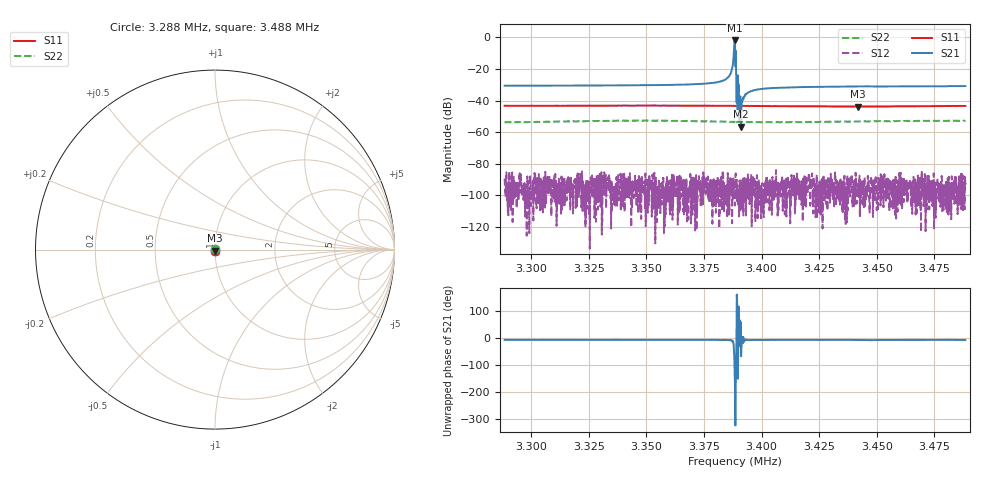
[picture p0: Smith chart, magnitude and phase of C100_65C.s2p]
# Hz S dB R 50.000
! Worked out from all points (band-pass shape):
!   6401 points, 3.288 MHz to 3.488 MHz, reference 50 ohm
!   highest |S21| = -2.04 dB at 3.388 MHz (marker M1); lowest = -56.5 dB at 3.391 MHz (marker M2)
!   |S21| within 3 dB of the highest: 3.38812 MHz to 3.388472 MHz (351.8 Hz wide, 0.0104 % of centre)
!   lowest |S11| = -43.8 dB at 3.442 MHz (marker M3), VSWR 1.01, Z = 50 - j0.643 ohm
!   |S11| at or under -10 dB: start of sweep to end of sweep
!   |S22| runs from -53.8 to -52.6 dB; largest |S21 - S12| = 0.79
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3288438  -43.31 -92.2  -30.63 -7.3  -89.31 6.2  -53.75 115.5
3321782  -43.29 -94.1  -30.52 -7.4  -103.21 32.8  -53.08 117.1
3355126  -43.21 -94.0  -30.22 -7.4  -97.65 43.1  -52.76 115.6
3373626  -43.32 -93.2  -29.50 -7.6  -97.94 -143.2  -53.15 112.8
3382376  -43.34 -92.5  -27.84 -7.8  -90.58 60.4  -53.38 112.0
3384626  -43.37 -92.5  -26.38 -7.7  -96.52 -87.8  -53.41 111.6
3386032  -43.37 -92.4  -24.23 -8.1  -100.95 57.0  -53.52 111.4
3386657  -43.36 -92.4  -22.53 -8.7  -92.68 112.2  -53.42 111.0
3387157  -43.35 -92.2  -19.71 -9.9  -103.26 -29.6  -53.50 110.6
3387376  -43.37 -92.4  -18.33 -13.9  -100.73 0.4  -53.58 111.7
3387844  -43.37 -92.4  -11.70 -26.3  -92.50 -149.2  -53.70 111.7
3388438  -43.38 -92.0  -2.04 171.3  -106.31 179.1  -52.72 107.3
3389032  -43.39 -92.1  -28.57 -40.2  -98.28 46.2  -53.44 111.0
3389532  -43.38 -92.3  -28.85 20.2  -96.37 -78.1  -53.42 111.0
3390094  -43.40 -92.2  -39.59 84.4  -101.67 -153.1  -53.49 109.4
3391063  -43.43 -92.0  -56.50 3.8  -94.20 -43.3  -53.44 110.5
3393282  -43.44 -92.1  -35.98 -6.1  -98.80 -130.1  -53.59 110.1
3396844  -43.44 -91.8  -33.49 -8.2  -91.38 -14.2  -53.58 110.0
3421782  -43.66 -91.5  -31.41 -7.6  -88.83 16.7  -53.55 111.2
3441876  -43.82 -91.7  -31.10 -7.9  -92.87 -66.2  -53.33 113.2
3455126  -43.72 -91.8  -31.11 -7.8  -90.69 31.1  -52.99 114.2
3488438  -43.44 -90.6  -30.89 -7.8  -92.10 -38.4  -52.65 113.1
